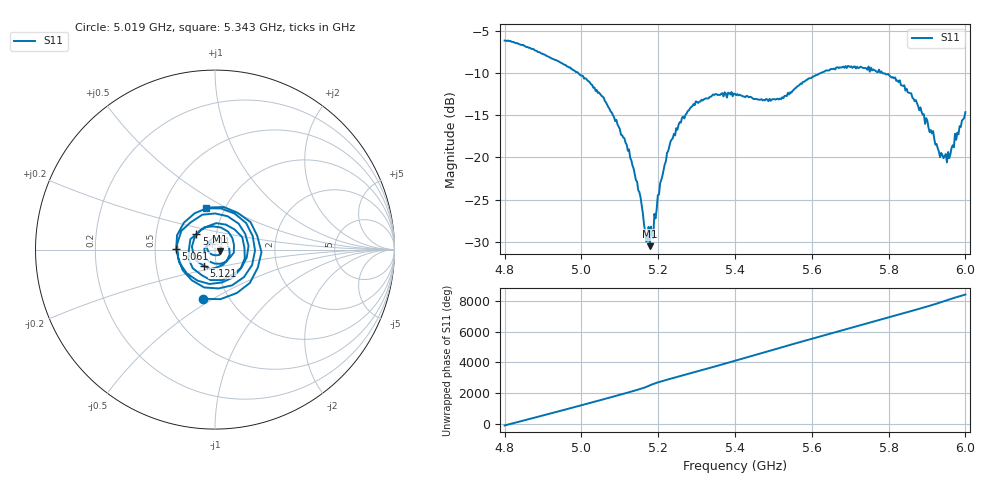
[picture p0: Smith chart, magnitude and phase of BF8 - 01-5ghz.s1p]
! NanoVNA-App
! Date: 2026-05-22 16:35:26
! Start: 4.8GHz Stop: 6GHz Points: 401
! S-Parameter data: F S11
# Hz S RI R 50
!  Frequency  S11_Real  S11_Imag
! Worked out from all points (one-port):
!   401 points, 4.8 GHz to 6 GHz, reference 50 ohm
!   lowest |S11| = -30.5 dB at 5.178 GHz (marker M1), VSWR 1.06, Z = 52.9 - j1.01 ohm
!   |S11| at or under -10 dB: 4.992 GHz to 5.624 GHz (632.3 MHz wide, 11.9 % of centre); 5.783 GHz to end of sweep
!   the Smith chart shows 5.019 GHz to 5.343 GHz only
!   S11 on the Smith chart (normalised r, x): 5.019 GHz: 0.76, -0.45; 5.061 GHz: 0.64, +0.00; 5.121 GHz: 0.87, -0.16; 5.244 GHz: 0.80, +0.14; 5.343 GHz: 0.81, +0.40
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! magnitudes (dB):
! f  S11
! 4.8 GHz  -6.2
! 4.95 GHz  -8.9
! 5.019 GHz  -11.0
! 5.061 GHz  -13.3
! 5.1 GHz  -16.6
! 5.121 GHz  -19.2
! 5.151 GHz  -24.1
! 5.166 GHz  -28.8
! 5.172 GHz  -29.8
! 5.178 GHz  -30.5
! 5.19 GHz  -26.7
! 5.205 GHz  -23.1
! 5.223 GHz  -19.5
! 5.244 GHz  -17.4
! 5.25 GHz  -16.7
! 5.292 GHz  -13.7
! 5.343 GHz  -12.5
! 5.4 GHz  -12.5
! 5.493 GHz  -13.3
! 5.55 GHz  -12.1
! 5.631 GHz  -9.9
! 5.7 GHz  -9.3
! 5.796 GHz  -10.2
! 5.85 GHz  -12.3
! 5.877 GHz  -13.9
! 5.946 GHz  -19.8
! 5.964 GHz  -18.9
! 6 GHz  -14.6
